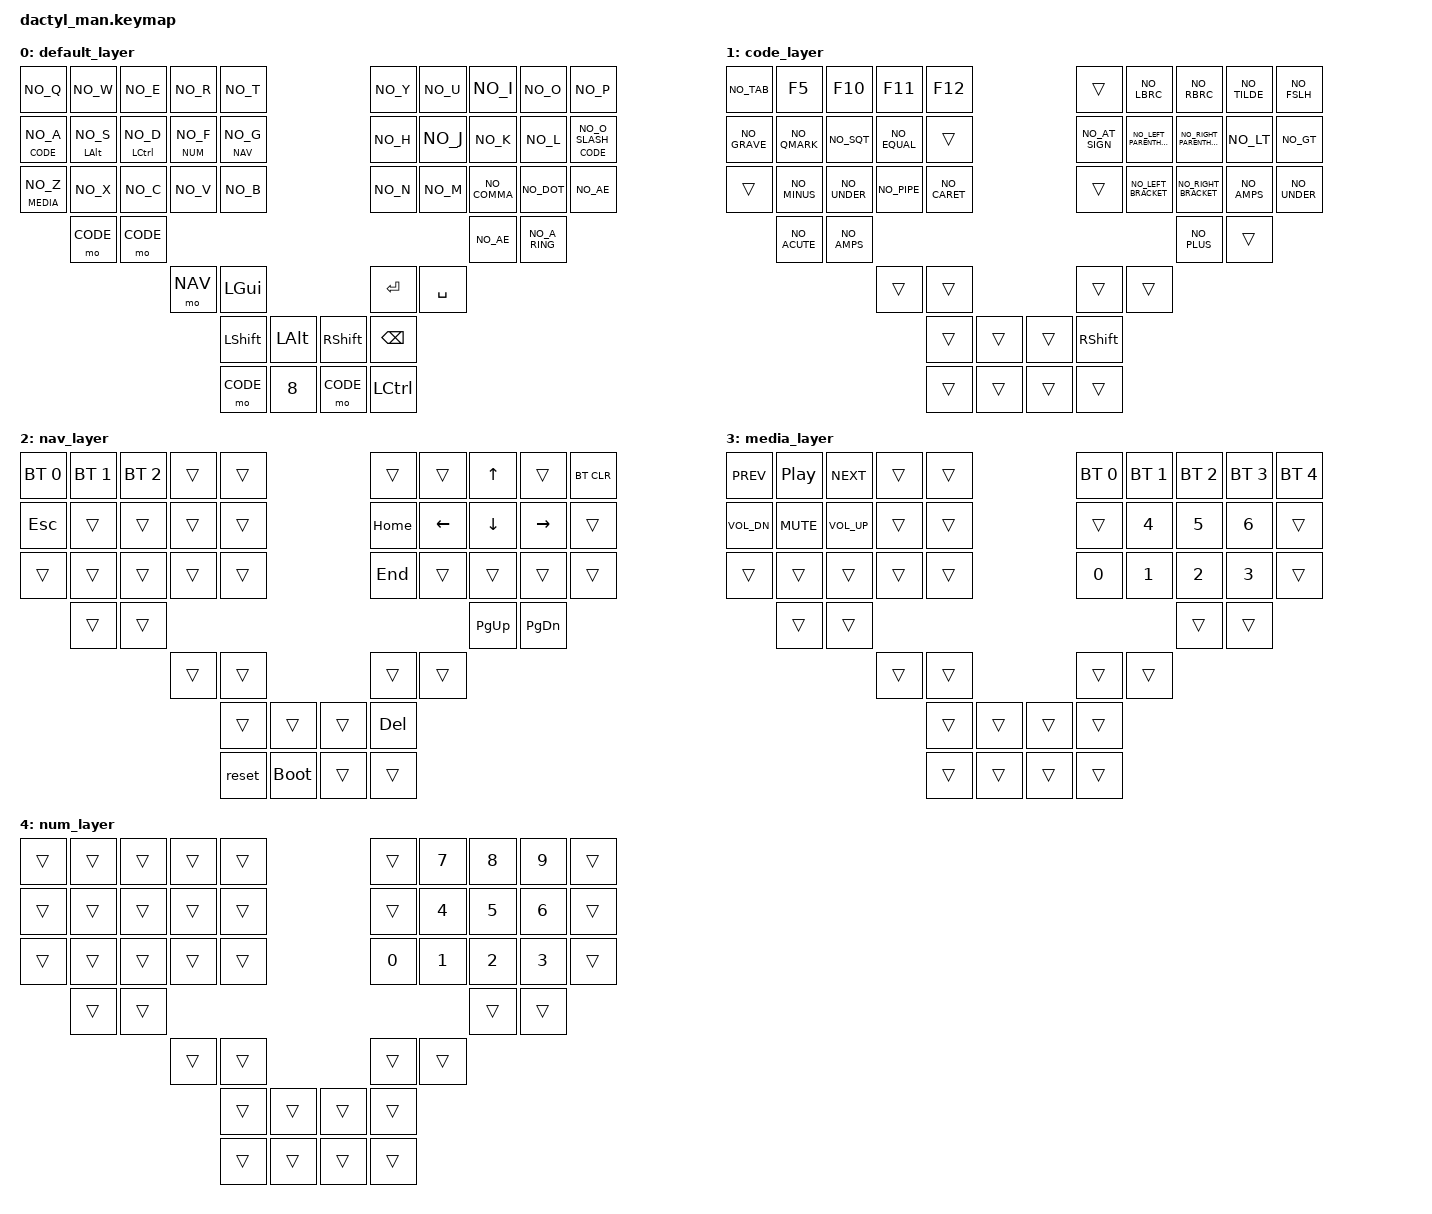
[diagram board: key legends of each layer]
#include <behaviors.dtsi>
#include <dt-bindings/zmk/keys.h>
#include <dt-bindings/zmk/bt.h>

#define HOST_OS 2

#include "./keys_no.h"

#define DEFAULT 0
#define CODE 1
#define NAV 2
#define MEDIA 3
#define NUM 4


/ {

    behaviors {
        bhm: balanced_homerow_mods {
            compatible = "zmk,behavior-hold-tap";
            label = "HOMEROW_MODS";
            #binding-cells = <2>;
            tapping-term-ms = <200>;    // <---[[moderate duration]]
            quick-tap-ms = <0>;
            flavor = "balanced";
            bindings = <&kp>, <&kp>;
        };

gqt: global-quick-tap {
       compatible = "zmk,behavior-hold-tap";
       label = "GLOBAL_QUICK_TAP";
      #binding-cells = <2>;
       flavor = "tap-preferred";
       tapping-term-ms = <200>;
       quick-tap-ms = <125>;
       global-quick-tap;
       bindings = <&kp>, <&kp>;
     };
    };

    keymap {
        compatible = "zmk,keymap";
                // -----------------------------------------------------------------------------------------
                // |  Q  |  W  |  E  |  R  |  T  |                              |  Y  |  U   |  I  |  O  |  P  |
                // |  A  |  S  |  D  |  F  |  G  |                              |  H  |  J   |  K  |  L  |  Ø  |
                // |  Z  |  X  |  C  |  V  |  B  |                              |  N  |  M   |  ,  |  .  |  /  |
                //       |  ?  |  ?  |                                                       |  Æ  |  Å  |
                //                   |  CMD  |  SHIFT  |                       |  ENT | SPC  |
                //                           |   LS    |  LALT  |       |  LS  |  BSPC |
                //                           |   LS    |  LS    |       |  LS  |   LS  |
        default_layer {
            bindings = <
                    &kp NO_Q     &kp NO_W    &kp NO_E     &kp NO_R     &kp NO_T                                        &kp NO_Y     &kp NO_U     &kp NO_I     &kp NO_O     &kp NO_P    
                    &lt CODE NO_A     &gqt LALT NO_S    &gqt LCTRL NO_D     &lt NUM NO_F     &lt NAV NO_G                         &kp NO_H     &kp NO_J     &kp NO_K     &kp NO_L     &lt CODE NO_O_SLASH 
                    &lt MEDIA NO_Z     &kp NO_X    &kp NO_C     &kp NO_V     &kp NO_B                                        &kp NO_N     &kp NO_M     &kp NO_COMMA    &kp NO_DOT   &kp NO_AE 
                              &mo CODE    &mo CODE                                                                               &kp NO_AE   &kp NO_A_RING 
                                                 &mo NAV     &kp LGUI                                        &kp RET    &kp SPACE 
                                                            &kp LSHIFT     &kp LALT                  &kp RSHIFT     &kp BSPC 
                                                            &mo CODE   &kp N8                  &mo CODE   &kp LCTRL 
            >;
        };
        code_layer {
            bindings = <
                    &kp NO_TAB     &kp F5    &kp F10    &kp F11      &kp F12                                       &trans     &kp NO_LBRC           &kp NO_RBRC           &kp NO_TILDE     &kp NO_FSLH
                    &kp NO_GRAVE     &kp NO_QMARK    &kp NO_SQT     &kp NO_EQUAL    &trans                   &kp NO_AT_SIGN    &kp NO_LEFT_PARENTHESIS     &kp NO_RIGHT_PARENTHESIS     &kp NO_LT        &kp NO_GT 
                    &trans      &kp NO_MINUS    &kp NO_UNDER     &kp NO_PIPE       &kp NO_CARET                    &trans     &kp NO_LEFT_BRACKET         &kp NO_RIGHT_BRACKET         &kp NO_AMPS        &kp NO_UNDER
                                &kp NO_ACUTE    &kp NO_AMPS                                                                           &kp NO_PLUS                   &trans
                                                     &trans       &trans                                        &trans     &trans
                                                                  &trans     &trans                  &trans     &kp RSHIFT
                                                                  &trans     &trans                  &trans     &trans
            >;
        };
        nav_layer {
            bindings = <
                    &bt BT_SEL 0 &bt BT_SEL 1 &bt BT_SEL 2 &trans     &trans                                 &trans     &trans   &kp UP      &trans      &bt BT_CLR
                    &kp ESC    &trans     &trans     &trans      &trans                                 &kp HOME     &kp LEFT    &kp DOWN     &kp RIGHT       &trans
                    &trans     &trans    &trans     &trans     &trans                                 &kp END     &trans    &trans      &trans     &trans
                              &trans     &trans                                                                           &kp PG_UP     &kp PG_DN
                                                 &trans     &trans                                        &trans     &trans
                                                            &trans     &trans                  &trans     &kp DEL
                                                            &reset &bootloader                  &trans     &trans
            >;
        };
        media_layer {
            bindings = <
                    &kp C_PREV     &kp C_PLAY_PAUSE    &kp C_NEXT     &trans     &trans                                 &bt BT_SEL 0     &bt BT_SEL 1    &bt BT_SEL 2     &bt BT_SEL 3     &bt BT_SEL 4
                    &kp C_VOL_DN     &kp C_MUTE    &kp C_VOL_UP     &trans     &trans                                 &trans     &kp N4    &kp N5     &kp N6     &trans
                    &trans     &trans    &trans     &trans     &trans                                 &kp N0     &kp N1    &kp N2     &kp N3     &trans
                              &trans     &trans                                                                           &trans     &trans
                                                 &trans     &trans                                        &trans     &trans
                                                            &trans     &trans                  &trans     &trans
                                                            &trans     &trans                  &trans     &trans
            >;
        };
        num_layer {
            bindings = <
                    &trans     &trans    &trans     &trans     &trans                                 &trans     &kp N7    &kp N8     &kp N9     &trans
                    &trans     &trans    &trans     &trans     &trans                                 &trans     &kp N4    &kp N5     &kp N6     &trans
                    &trans     &trans    &trans     &trans     &trans                                 &kp N0     &kp N1    &kp N2     &kp N3     &trans
                              &trans     &trans                                                                           &trans     &trans
                                                 &trans     &trans                                        &trans     &trans
                                                            &trans     &trans                  &trans     &trans
                                                            &trans     &trans                  &trans     &trans
            >;
        };
        
    };
};
